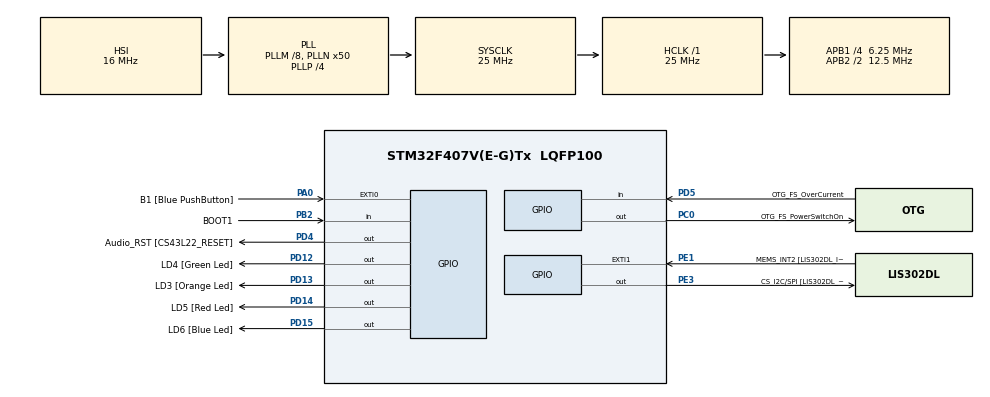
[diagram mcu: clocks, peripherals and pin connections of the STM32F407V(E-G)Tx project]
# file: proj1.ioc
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Mcu.Family=STM32F4
Mcu.Name=STM32F407V(E-G)Tx
Mcu.Package=LQFP100
NVIC.PriorityGroup=NVIC_PRIORITYGROUP_4
NVIC.TIM6_DAC_IRQn=true\:0\:0\:false\:false\:true\:false\:true\:true
NVIC.TimeBase=TIM6_DAC_IRQn
NVIC.TimeBaseIP=TIM6
PA0-WKUP.GPIO_Label=B1 [Blue PushButton]
PA0-WKUP.Signal=GPXTI0
PA10.GPIO_Label=OTG_FS_ID
PA10.GPIO_Mode=GPIO_MODE_AF_PP
PA10.GPIO_PuPd=GPIO_NOPULL
PA10.GPIO_Speed=GPIO_SPEED_FREQ_LOW
PA10.Signal=USB_OTG_FS_ID
PA11.GPIO_Label=OTG_FS_DM
PA11.GPIO_Mode=GPIO_MODE_AF_PP
PA11.GPIO_PuPd=GPIO_NOPULL
PA11.GPIO_Speed=GPIO_SPEED_FREQ_LOW
PA11.Signal=USB_OTG_FS_DM
PA12.GPIO_Label=OTG_FS_DP
PA12.GPIO_Mode=GPIO_MODE_AF_PP
PA12.GPIO_PuPd=GPIO_NOPULL
PA12.GPIO_Speed=GPIO_SPEED_FREQ_LOW
PA12.Signal=USB_OTG_FS_DP
PA13.GPIO_Label=SWDIO
PA13.Signal=SYS_JTMS-SWDIO
PA14.GPIO_Label=SWCLK
PA14.Signal=SYS_JTCK-SWCLK
PA4.GPIO_Label=I2S3_WS [CS43L22_LRCK]
PA4.GPIO_Mode=GPIO_MODE_AF_PP
PA4.GPIO_PuPd=GPIO_NOPULL
PA4.GPIO_Speed=GPIO_SPEED_FREQ_LOW
PA4.Signal=I2S3_WS
PA5.GPIO_Label=SPI1_SCK [LIS302DL_SCL/SPC]
PA5.GPIO_Mode=GPIO_MODE_AF_PP
PA5.GPIO_PuPd=GPIO_NOPULL
PA5.GPIO_Speed=GPIO_SPEED_FREQ_LOW
PA5.Signal=SPI1_SCK
PA6.GPIO_Label=SPI1_MISO [LIS302DL_SDO]
PA6.GPIO_Mode=GPIO_MODE_AF_PP
PA6.GPIO_PuPd=GPIO_NOPULL
PA6.GPIO_Speed=GPIO_SPEED_FREQ_LOW
PA6.Signal=SPI1_MISO
PA7.GPIO_Label=SPI1_MOSI [LIS302DL_SDA/SDI/SDO]
PA7.GPIO_Mode=GPIO_MODE_AF_PP
PA7.GPIO_PuPd=GPIO_NOPULL
PA7.GPIO_Speed=GPIO_SPEED_FREQ_LOW
PA7.Signal=SPI1_MOSI
PA9.GPIO_Label=VBUS_FS
PA9.GPIO_Mode=GPIO_MODE_INPUT
PA9.GPIO_PuPd=GPIO_NOPULL
PA9.Signal=USB_OTG_FS_VBUS
PB10.GPIO_Label=CLK_IN [MP45DT02_CLK]
PB10.GPIO_Mode=GPIO_MODE_AF_PP
PB10.GPIO_PuPd=GPIO_NOPULL
PB10.GPIO_Speed=GPIO_SPEED_FREQ_LOW
PB10.Signal=I2S2_CK
PB2.GPIO_Label=BOOT1
PB2.GPIO_Mode=GPIO_MODE_INPUT
PB2.GPIO_PuPd=GPIO_NOPULL
PB2.Signal=GPIO_Input
PB3.GPIO_Label=SWO
PB3.Signal=SYS_JTDO-SWO
PB6.GPIO_Label=Audio_SCL [CS43L22_SCL]
PB6.GPIO_Mode=GPIO_MODE_AF_OD
PB6.GPIO_PuPd=GPIO_NOPULL
PB6.GPIO_Speed=GPIO_SPEED_FREQ_LOW
PB6.Signal=I2C1_SCL
PB9.GPIO_Label=Audio_SDA [CS43L22_SDA]
PB9.GPIO_Mode=GPIO_MODE_AF_OD
PB9.GPIO_PuPd=GPIO_NOPULL
PB9.GPIO_Speed=GPIO_SPEED_FREQ_LOW
PB9.Signal=I2C1_SDA
PC0.GPIO_Label=OTG_FS_PowerSwitchOn
PC0.GPIO_PuPd=GPIO_NOPULL
PC0.GPIO_Speed=GPIO_SPEED_FREQ_LOW
PC0.PinState=GPIO_PIN_SET
PC0.Signal=GPIO_Output
PC10.GPIO_Label=I2S3_SCK [CS43L22_SCLK]
PC10.GPIO_Mode=GPIO_MODE_AF_PP
PC10.GPIO_PuPd=GPIO_NOPULL
PC10.GPIO_Speed=GPIO_SPEED_FREQ_LOW
PC10.Signal=I2S3_CK
PC12.GPIO_Label=I2S3_SD [CS43L22_SDIN]
PC12.GPIO_Mode=GPIO_MODE_AF_PP
PC12.GPIO_PuPd=GPIO_NOPULL
PC12.GPIO_Speed=GPIO_SPEED_FREQ_LOW
PC12.Signal=I2S3_SD
PC14-OSC32_IN.GPIO_Label=PC14-OSC32_IN
PC14-OSC32_IN.Signal=RCC_OSC32_IN
PC15-OSC32_OUT.GPIO_Label=PC15-OSC32_OUT
PC15-OSC32_OUT.Signal=RCC_OSC32_OUT
PC3.GPIO_Label=PDM_OUT [MP45DT02_DOUT]
PC3.GPIO_Mode=GPIO_MODE_AF_PP
PC3.GPIO_PuPd=GPIO_NOPULL
PC3.GPIO_Speed=GPIO_SPEED_FREQ_LOW
PC3.Signal=I2S2_SD
PC7.GPIO_Label=I2S3_MCK [CS43L22_MCLK]
PC7.GPIO_Mode=GPIO_MODE_AF_PP
PC7.GPIO_PuPd=GPIO_NOPULL
PC7.GPIO_Speed=GPIO_SPEED_FREQ_LOW
PC7.Signal=I2S3_MCK
PD12.GPIO_Label=LD4 [Green Led]
PD12.GPIO_PuPd=GPIO_NOPULL
PD12.GPIO_Speed=GPIO_SPEED_FREQ_LOW
PD12.Signal=GPIO_Output
PD13.GPIO_Label=LD3 [Orange Led]
PD13.GPIO_PuPd=GPIO_NOPULL
PD13.GPIO_Speed=GPIO_SPEED_FREQ_LOW
PD13.Signal=GPIO_Output
PD14.GPIO_Label=LD5 [Red Led]
PD14.GPIO_PuPd=GPIO_NOPULL
PD14.GPIO_Speed=GPIO_SPEED_FREQ_LOW
PD14.Signal=GPIO_Output
PD15.GPIO_Label=LD6 [Blue Led]
PD15.GPIO_PuPd=GPIO_NOPULL
PD15.GPIO_Speed=GPIO_SPEED_FREQ_LOW
PD15.Signal=GPIO_Output
PD4.GPIO_Label=Audio_RST [CS43L22_RESET]
PD4.GPIO_PuPd=GPIO_NOPULL
PD4.GPIO_Speed=GPIO_SPEED_FREQ_LOW
PD4.Signal=GPIO_Output
PD5.GPIO_Label=OTG_FS_OverCurrent
PD5.GPIO_Mode=GPIO_MODE_INPUT
PD5.GPIO_PuPd=GPIO_NOPULL
PD5.Signal=GPIO_Input
PE1.GPIO_Label=MEMS_INT2 [LIS302DL_INT2]
PE1.GPIO_ModeDefaultEXTI=GPIO_MODE_EVT_RISING
PE1.GPIO_PuPd=GPIO_NOPULL
PE1.Signal=GPXTI1
PE3.GPIO_Label=CS_I2C/SPI [LIS302DL_CS_I2C/SPI]
PE3.GPIO_PuPd=GPIO_NOPULL
PE3.GPIO_Speed=GPIO_SPEED_FREQ_LOW
PE3.Signal=GPIO_Output
PH0-OSC_IN.GPIO_Label=PH0-OSC_IN
PH0-OSC_IN.Signal=RCC_OSC_IN
PH1-OSC_OUT.GPIO_Label=PH1-OSC_OUT
PH1-OSC_OUT.Signal=RCC_OSC_OUT
ProjectManager.HeapSize=0x200
ProjectManager.StackSize=0x400
ProjectManager.TargetToolchain=STM32CubeIDE
RCC.48MHZClocksFreq_Value=14285714.285714285
RCC.AHBFreq_Value=25000000
RCC.APB1CLKDivider=RCC_HCLK_DIV4
RCC.APB1Freq_Value=6250000
RCC.APB1TimFreq_Value=12500000
RCC.APB2CLKDivider=RCC_HCLK_DIV2
RCC.APB2Freq_Value=12500000
RCC.APB2TimFreq_Value=25000000
RCC.CortexFreq_Value=25000000
RCC.HCLKFreq_Value=25000000
RCC.HSE_VALUE=8000000
RCC.HSI_VALUE=16000000
RCC.LSE_VALUE=32768
RCC.PLLM=8
RCC.PLLN=50
RCC.PLLP=RCC_PLLP_DIV4
RCC.PLLQ=7
RCC.SYSCLKFreq_VALUE=25000000
RCC.SYSCLKSource=RCC_SYSCLKSOURCE_PLLCLK
RCC.VCOOutputFreq_Value=100000000
VP_SYS_VS_tim6.Mode=TIM6
board=STM32F407G-DISC1

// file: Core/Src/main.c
/* USER CODE BEGIN Header */
/**
  ******************************************************************************
  * @file           : main.c
  * @brief          : Main program body
  ******************************************************************************
  * @attention
  *
  * Copyright (c) 2026 STMicroelectronics.
  * All rights reserved.
  *
  * This software is licensed under terms that can be found in the LICENSE file
  * in the root directory of this software component.
  * If no LICENSE file comes with this software, it is provided AS-IS.
  *
  ******************************************************************************
  */
/* USER CODE END Header */
#include "main.h"

/* USER CODE BEGIN Includes */
#include "FreeRTOS.h"
#include "task.h"
#include <stdio.h>

/* USER CODE END Includes */

void SystemClock_Config(void);
static void MX_GPIO_Init(void);
/* USER CODE BEGIN PFP */
static void task1Handler(void* parameters);
static void task2Handler(void* parameters);

/* USER CODE END PFP */

int main(void)
{

  /* USER CODE BEGIN 1 */
	TaskHandle_t task1_handle;
	TaskHandle_t task2_handle;

	BaseType_t status;

  /* USER CODE END 1 */

  /* MCU Configuration--------------------------------------------------------*/

  /* Reset of all peripherals, Initializes the Flash interface and the Systick. */
  HAL_Init();

  /* Configure the system clock */
  SystemClock_Config();

  /* Initialize all configured peripherals */
  MX_GPIO_Init();
  /* USER CODE BEGIN 2 */
  status = xTaskCreate(task1Handler, "Task-1", 200, "Hello world from Task-1",2, &task1_handle);
  configASSERT(status == pdPASS);

  status = xTaskCreate(task2Handler, "Task-2", 200, "Hello world from Task-2",2, &task2_handle);
  configASSERT(status == pdPASS);

  //start the freeRTOS scheduler
  vTaskStartScheduler();
  // Code should never come here. If it does, scheduler had failed due to lack of RAM space

  /* USER CODE END 2 */

  /* Infinite loop */
  while (1)
  {

  }
}

void SystemClock_Config(void)
{
  RCC_OscInitTypeDef RCC_OscInitStruct = {0};
  RCC_ClkInitTypeDef RCC_ClkInitStruct = {0};

  /** Configure the main internal regulator output voltage
  */
  __HAL_RCC_PWR_CLK_ENABLE();
  __HAL_PWR_VOLTAGESCALING_CONFIG(PWR_REGULATOR_VOLTAGE_SCALE1);

  /** Initializes the RCC Oscillators according to the specified parameters
  * in the RCC_OscInitTypeDef structure.
  */
  RCC_OscInitStruct.OscillatorType = RCC_OSCILLATORTYPE_HSI;
  RCC_OscInitStruct.HSIState = RCC_HSI_ON;
  RCC_OscInitStruct.HSICalibrationValue = RCC_HSICALIBRATION_DEFAULT;
  RCC_OscInitStruct.PLL.PLLState = RCC_PLL_ON;
  RCC_OscInitStruct.PLL.PLLSource = RCC_PLLSOURCE_HSI;
  RCC_OscInitStruct.PLL.PLLM = 8;
  RCC_OscInitStruct.PLL.PLLN = 50;
  RCC_OscInitStruct.PLL.PLLP = RCC_PLLP_DIV4;
  RCC_OscInitStruct.PLL.PLLQ = 7;
  if (HAL_RCC_OscConfig(&RCC_OscInitStruct) != HAL_OK)
  {
    Error_Handler();
  }

  /** Initializes the CPU, AHB and APB buses clocks
  */
  RCC_ClkInitStruct.ClockType = RCC_CLOCKTYPE_HCLK|RCC_CLOCKTYPE_SYSCLK
                              |RCC_CLOCKTYPE_PCLK1|RCC_CLOCKTYPE_PCLK2;
  RCC_ClkInitStruct.SYSCLKSource = RCC_SYSCLKSOURCE_PLLCLK;
  RCC_ClkInitStruct.AHBCLKDivider = RCC_SYSCLK_DIV1;
  RCC_ClkInitStruct.APB1CLKDivider = RCC_HCLK_DIV4;
  RCC_ClkInitStruct.APB2CLKDivider = RCC_HCLK_DIV2;

  if (HAL_RCC_ClockConfig(&RCC_ClkInitStruct, FLASH_LATENCY_0) != HAL_OK)
  {
    Error_Handler();
  }
}

static void MX_GPIO_Init(void)
{
  GPIO_InitTypeDef GPIO_InitStruct = {0};

  /* GPIO Ports Clock Enable */
  __HAL_RCC_GPIOE_CLK_ENABLE();
  __HAL_RCC_GPIOC_CLK_ENABLE();
  __HAL_RCC_GPIOH_CLK_ENABLE();
  __HAL_RCC_GPIOA_CLK_ENABLE();
  __HAL_RCC_GPIOB_CLK_ENABLE();
  __HAL_RCC_GPIOD_CLK_ENABLE();

  /*Configure GPIO pin Output Level */
  HAL_GPIO_WritePin(CS_I2C_SPI_GPIO_Port, CS_I2C_SPI_Pin, GPIO_PIN_RESET);

  /*Configure GPIO pin Output Level */
  HAL_GPIO_WritePin(OTG_FS_PowerSwitchOn_GPIO_Port, OTG_FS_PowerSwitchOn_Pin, GPIO_PIN_SET);

  /*Configure GPIO pin Output Level */
  HAL_GPIO_WritePin(GPIOD, LD4_Pin|LD3_Pin|LD5_Pin|LD6_Pin
                          |Audio_RST_Pin, GPIO_PIN_RESET);

  /*Configure GPIO pin : CS_I2C_SPI_Pin */
  GPIO_InitStruct.Pin = CS_I2C_SPI_Pin;
  GPIO_InitStruct.Mode = GPIO_MODE_OUTPUT_PP;
  GPIO_InitStruct.Pull = GPIO_NOPULL;
  GPIO_InitStruct.Speed = GPIO_SPEED_FREQ_LOW;
  HAL_GPIO_Init(CS_I2C_SPI_GPIO_Port, &GPIO_InitStruct);

  /*Configure GPIO pin : OTG_FS_PowerSwitchOn_Pin */
  GPIO_InitStruct.Pin = OTG_FS_PowerSwitchOn_Pin;
  GPIO_InitStruct.Mode = GPIO_MODE_OUTPUT_PP;
  GPIO_InitStruct.Pull = GPIO_NOPULL;
  GPIO_InitStruct.Speed = GPIO_SPEED_FREQ_LOW;
  HAL_GPIO_Init(OTG_FS_PowerSwitchOn_GPIO_Port, &GPIO_InitStruct);

  /*Configure GPIO pin : PDM_OUT_Pin */
  GPIO_InitStruct.Pin = PDM_OUT_Pin;
  GPIO_InitStruct.Mode = GPIO_MODE_AF_PP;
  GPIO_InitStruct.Pull = GPIO_NOPULL;
  GPIO_InitStruct.Speed = GPIO_SPEED_FREQ_LOW;
  GPIO_InitStruct.Alternate = GPIO_AF5_SPI2;
  HAL_GPIO_Init(PDM_OUT_GPIO_Port, &GPIO_InitStruct);

  /*Configure GPIO pin : B1_Pin */
  GPIO_InitStruct.Pin = B1_Pin;
  GPIO_InitStruct.Mode = GPIO_MODE_IT_RISING;
  GPIO_InitStruct.Pull = GPIO_NOPULL;
  HAL_GPIO_Init(B1_GPIO_Port, &GPIO_InitStruct);

  /*Configure GPIO pin : I2S3_WS_Pin */
  GPIO_InitStruct.Pin = I2S3_WS_Pin;
  GPIO_InitStruct.Mode = GPIO_MODE_AF_PP;
  GPIO_InitStruct.Pull = GPIO_NOPULL;
  GPIO_InitStruct.Speed = GPIO_SPEED_FREQ_LOW;
  GPIO_InitStruct.Alternate = GPIO_AF6_SPI3;
  HAL_GPIO_Init(I2S3_WS_GPIO_Port, &GPIO_InitStruct);

  /*Configure GPIO pins : SPI1_SCK_Pin SPI1_MISO_Pin SPI1_MOSI_Pin */
  GPIO_InitStruct.Pin = SPI1_SCK_Pin|SPI1_MISO_Pin|SPI1_MOSI_Pin;
  GPIO_InitStruct.Mode = GPIO_MODE_AF_PP;
  GPIO_InitStruct.Pull = GPIO_NOPULL;
  GPIO_InitStruct.Speed = GPIO_SPEED_FREQ_LOW;
  GPIO_InitStruct.Alternate = GPIO_AF5_SPI1;
  HAL_GPIO_Init(GPIOA, &GPIO_InitStruct);

  /*Configure GPIO pin : BOOT1_Pin */
  GPIO_InitStruct.Pin = BOOT1_Pin;
  GPIO_InitStruct.Mode = GPIO_MODE_INPUT;
  GPIO_InitStruct.Pull = GPIO_NOPULL;
  HAL_GPIO_Init(BOOT1_GPIO_Port, &GPIO_InitStruct);

  /*Configure GPIO pin : CLK_IN_Pin */
  GPIO_InitStruct.Pin = CLK_IN_Pin;
  GPIO_InitStruct.Mode = GPIO_MODE_AF_PP;
  GPIO_InitStruct.Pull = GPIO_NOPULL;
  GPIO_InitStruct.Speed = GPIO_SPEED_FREQ_LOW;
  GPIO_InitStruct.Alternate = GPIO_AF5_SPI2;
  HAL_GPIO_Init(CLK_IN_GPIO_Port, &GPIO_InitStruct);

  /*Configure GPIO pins : LD4_Pin LD3_Pin LD5_Pin LD6_Pin
                           Audio_RST_Pin */
  GPIO_InitStruct.Pin = LD4_Pin|LD3_Pin|LD5_Pin|LD6_Pin
                          |Audio_RST_Pin;
  GPIO_InitStruct.Mode = GPIO_MODE_OUTPUT_PP;
  GPIO_InitStruct.Pull = GPIO_NOPULL;
  GPIO_InitStruct.Speed = GPIO_SPEED_FREQ_LOW;
  HAL_GPIO_Init(GPIOD, &GPIO_InitStruct);

  /*Configure GPIO pins : I2S3_MCK_Pin I2S3_SCK_Pin I2S3_SD_Pin */
  GPIO_InitStruct.Pin = I2S3_MCK_Pin|I2S3_SCK_Pin|I2S3_SD_Pin;
  GPIO_InitStruct.Mode = GPIO_MODE_AF_PP;
  GPIO_InitStruct.Pull = GPIO_NOPULL;
  GPIO_InitStruct.Speed = GPIO_SPEED_FREQ_LOW;
  GPIO_InitStruct.Alternate = GPIO_AF6_SPI3;
  HAL_GPIO_Init(GPIOC, &GPIO_InitStruct);

  /*Configure GPIO pin : VBUS_FS_Pin */
  GPIO_InitStruct.Pin = VBUS_FS_Pin;
  GPIO_InitStruct.Mode = GPIO_MODE_INPUT;
  GPIO_InitStruct.Pull = GPIO_NOPULL;
  HAL_GPIO_Init(VBUS_FS_GPIO_Port, &GPIO_InitStruct);

  /*Configure GPIO pins : OTG_FS_ID_Pin OTG_FS_DM_Pin OTG_FS_DP_Pin */
  GPIO_InitStruct.Pin = OTG_FS_ID_Pin|OTG_FS_DM_Pin|OTG_FS_DP_Pin;
  GPIO_InitStruct.Mode = GPIO_MODE_AF_PP;
  GPIO_InitStruct.Pull = GPIO_NOPULL;
  GPIO_InitStruct.Speed = GPIO_SPEED_FREQ_LOW;
  GPIO_InitStruct.Alternate = GPIO_AF10_OTG_FS;
  HAL_GPIO_Init(GPIOA, &GPIO_InitStruct);

  /*Configure GPIO pin : OTG_FS_OverCurrent_Pin */
  GPIO_InitStruct.Pin = OTG_FS_OverCurrent_Pin;
  GPIO_InitStruct.Mode = GPIO_MODE_INPUT;
  GPIO_InitStruct.Pull = GPIO_NOPULL;
  HAL_GPIO_Init(OTG_FS_OverCurrent_GPIO_Port, &GPIO_InitStruct);

  /*Configure GPIO pins : Audio_SCL_Pin Audio_SDA_Pin */
  GPIO_InitStruct.Pin = Audio_SCL_Pin|Audio_SDA_Pin;
  GPIO_InitStruct.Mode = GPIO_MODE_AF_OD;
  GPIO_InitStruct.Pull = GPIO_NOPULL;
  GPIO_InitStruct.Speed = GPIO_SPEED_FREQ_LOW;
  GPIO_InitStruct.Alternate = GPIO_AF4_I2C1;
  HAL_GPIO_Init(GPIOB, &GPIO_InitStruct);

  /*Configure GPIO pin : MEMS_INT2_Pin */
  GPIO_InitStruct.Pin = MEMS_INT2_Pin;
  GPIO_InitStruct.Mode = GPIO_MODE_EVT_RISING;
  GPIO_InitStruct.Pull = GPIO_NOPULL;
  HAL_GPIO_Init(MEMS_INT2_GPIO_Port, &GPIO_InitStruct);

}

/* USER CODE BEGIN 4 */
static void task1Handler(void* parameters)
{
	while(1)
	{
		printf("%s\n",(char*)parameters);
		taskYIELD();
	}
}

static void task2Handler(void* parameters)
{
	while(1)
	{
		printf("%s\n",(char*)parameters);
		taskYIELD();
	}
}

/* USER CODE END 4 */

void HAL_TIM_PeriodElapsedCallback(TIM_HandleTypeDef *htim)
{
  if (htim->Instance == TIM6)
  {
    HAL_IncTick();
  }
}

void Error_Handler(void)
{
  __disable_irq();
  while (1)
  {
  }
}
